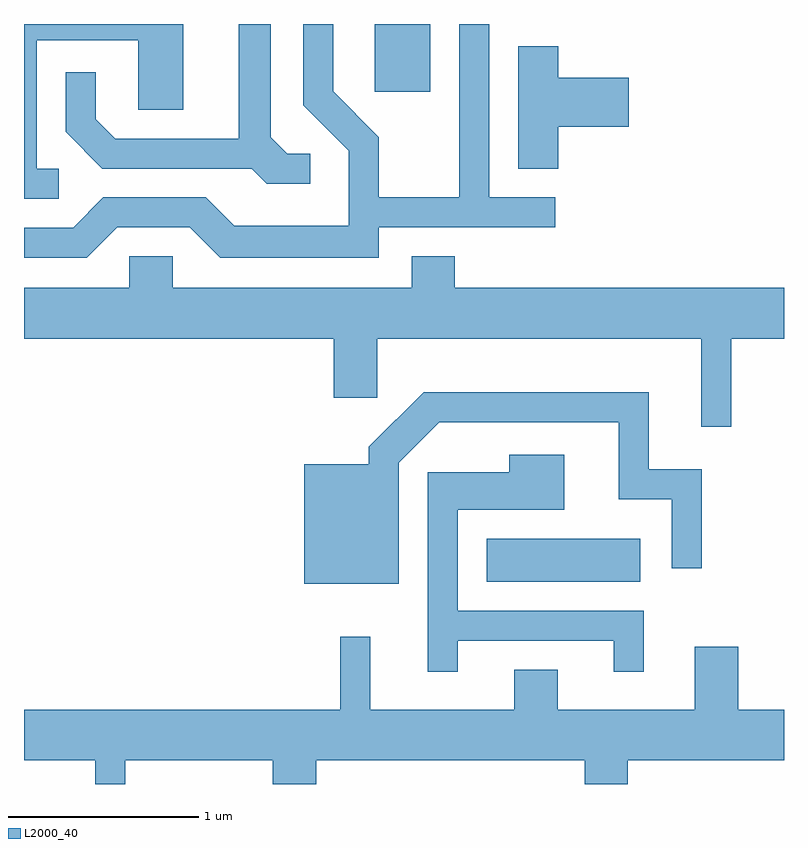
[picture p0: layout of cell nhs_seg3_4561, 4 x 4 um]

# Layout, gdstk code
import gdstk
lib = gdstk.Library(unit=1e-6, precision=1e-09)
def R(c, l, rs):  # rectangles x0, y0, x1, y1
    for r in rs: c.add(gdstk.rectangle(r[:2], r[2:], *l))
def P(c, l, *ps):  # polygons
    for p in ps: c.add(gdstk.Polygon(p, *l))
L2000_40 = (2000, 40)

nhs_seg3_4561 = lib.new_cell('nhs_seg3_4561')
R(nhs_seg3_4561, L2000_40, [(322.046,1126.956,322.854,1127.184), (321.456,1129.536,321.749,1129.892)])
P(nhs_seg3_4561, L2000_40, [(319.793,1129.129),(319.679,1129.129),(319.679,1129.806),(320.211,1129.806),(320.211,1129.441),(320.449,1129.441),(320.449,1129.892),(319.611,1129.892),(319.611,1128.971),(319.793,1128.971)],
  [(320.102,1128.821),(320.484,1128.821),(320.644,1128.661),(321.479,1128.661),(321.479,1128.821),(322.408,1128.821),(322.408,1128.979),(322.059,1128.979),(322.059,1129.892),(321.901,1129.892),(321.901,1128.979),(321.479,1128.979),(321.479,1129.297),(321.239,1129.537),(321.239,1129.892),(321.081,1129.892),(321.081,1129.464),(321.321,1129.224),(321.321,1128.829),(320.717,1128.829),(320.567,1128.979),(320.029,1128.979),(319.869,1128.819),(319.611,1128.819),(319.611,1128.661),(319.942,1128.661)],
  [(321.118,1129.209),(320.997,1129.209),(320.909,1129.297),(320.909,1129.892),(320.741,1129.892),(320.741,1129.289),(320.092,1129.289),(319.989,1129.392),(319.989,1129.638),(319.831,1129.638),(319.831,1129.324),(320.024,1129.131),(320.809,1129.131),(320.889,1129.051),(321.118,1129.051)],
  [(322.424,1129.351),(322.794,1129.351),(322.794,1129.609),(322.424,1129.609),(322.424,1129.774),(322.211,1129.774),(322.211,1129.131),(322.424,1129.131)],
  [(321.651,1128.669),(321.651,1128.504),(320.394,1128.504),(320.394,1128.669),(320.166,1128.669),(320.166,1128.504),(319.611,1128.504),(319.611,1128.236),(321.241,1128.236),(321.241,1127.926),(321.469,1127.926),(321.469,1128.236),(323.176,1128.236),(323.176,1127.773),(323.334,1127.773),(323.334,1128.236),(323.611,1128.236),(323.611,1128.504),(321.879,1128.504),(321.879,1128.669)],
  [(321.584,1127.584),(321.797,1127.796),(322.741,1127.796),(322.741,1127.391),(323.021,1127.391),(323.021,1127.028),(323.179,1127.028),(323.179,1127.549),(322.899,1127.549),(322.899,1127.954),(321.714,1127.954),(321.426,1127.667),(321.426,1127.574),(321.086,1127.574),(321.086,1126.946),(321.584,1126.946)],
  [(321.894,1126.646),(322.716,1126.646),(322.716,1126.483),(322.874,1126.483),(322.874,1126.804),(321.894,1126.804),(321.894,1127.336),(322.454,1127.336),(322.454,1127.624),(322.166,1127.624),(322.166,1127.534),(321.736,1127.534),(321.736,1126.483),(321.894,1126.483)],
  [(320.144,1126.016),(320.921,1126.016),(320.921,1125.892),(321.149,1125.892),(321.149,1126.016),(322.561,1126.016),(322.561,1125.892),(322.789,1125.892),(322.789,1126.016),(323.611,1126.016),(323.611,1126.284),(323.369,1126.284),(323.369,1126.614),(323.141,1126.614),(323.141,1126.284),(322.419,1126.284),(322.419,1126.494),(322.191,1126.494),(322.191,1126.284),(321.434,1126.284),(321.434,1126.668),(321.276,1126.668),(321.276,1126.284),(319.611,1126.284),(319.611,1126.016),(319.986,1126.016),(319.986,1125.892),(320.144,1125.892)])

lib.write_gds('nhs_seg3_4561.gds')
